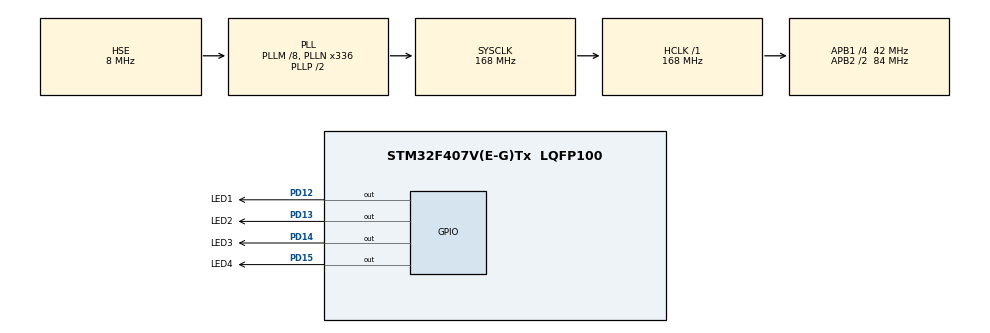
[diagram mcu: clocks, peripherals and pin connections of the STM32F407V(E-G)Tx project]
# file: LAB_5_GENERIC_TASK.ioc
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FREERTOS.Tasks01=defaultTask,24,128,StartDefaultTask,Default,NULL,Dynamic,NULL,NULL;LED1_Task,24,128,StartLED1_Task,Default,NULL,Dynamic,NULL,NULL;LED2_Task,24,128,StartLED2_Task,Default,NULL,Dynamic,NULL,NULL;LED3_Task,24,128,StartLED3_Task,Default,NULL,Dynamic,NULL,NULL;LED4_Task,24,128,StartLED4_Task,Default,NULL,Dynamic,NULL,NULL;LedGenericTask,24,128,StartLedGenericTask,Default,NULL,Dynamic,NULL,NULL
FREERTOS.configUSE_NEWLIB_REENTRANT=1
Mcu.Family=STM32F4
Mcu.Name=STM32F407V(E-G)Tx
Mcu.Package=LQFP100
NVIC.PriorityGroup=NVIC_PRIORITYGROUP_4
NVIC.TIM1_UP_TIM10_IRQn=true\:15\:0\:false\:false\:true\:false\:false\:true\:true
NVIC.TimeBase=TIM1_UP_TIM10_IRQn
NVIC.TimeBaseIP=TIM1
PA13.Mode=Serial_Wire
PA13.Signal=SYS_JTMS-SWDIO
PA14.Mode=Serial_Wire
PA14.Signal=SYS_JTCK-SWCLK
PD12.GPIO_Label=LED1
PD12.Signal=GPIO_Output
PD13.GPIO_Label=LED2
PD13.Signal=GPIO_Output
PD14.GPIO_Label=LED3
PD14.Signal=GPIO_Output
PD15.GPIO_Label=LED4
PD15.Signal=GPIO_Output
PH0-OSC_IN.Mode=HSE-External-Oscillator
PH0-OSC_IN.Signal=RCC_OSC_IN
PH1-OSC_OUT.Mode=HSE-External-Oscillator
PH1-OSC_OUT.Signal=RCC_OSC_OUT
ProjectManager.HeapSize=0x200
ProjectManager.StackSize=0x400
ProjectManager.TargetToolchain=STM32CubeIDE
RCC.48MHZClocksFreq_Value=48000000
RCC.AHBFreq_Value=168000000
RCC.APB1CLKDivider=RCC_HCLK_DIV4
RCC.APB1Freq_Value=42000000
RCC.APB1TimFreq_Value=84000000
RCC.APB2CLKDivider=RCC_HCLK_DIV2
RCC.APB2Freq_Value=84000000
RCC.APB2TimFreq_Value=168000000
RCC.CortexFreq_Value=168000000
RCC.HCLKFreq_Value=168000000
RCC.HSE_VALUE=8000000
RCC.HSI_VALUE=16000000
RCC.LSE_VALUE=32768
RCC.PLLM=8
RCC.PLLN=336
RCC.PLLQ=7
RCC.PLLSourceVirtual=RCC_PLLSOURCE_HSE
RCC.SYSCLKFreq_VALUE=168000000
RCC.SYSCLKSource=RCC_SYSCLKSOURCE_PLLCLK
RCC.VCOOutputFreq_Value=336000000
VP_FREERTOS_VS_CMSIS_V2.Mode=CMSIS_V2
VP_SYS_VS_tim1.Mode=TIM1
board=STM32F407G-DISC1

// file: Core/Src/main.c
/* USER CODE BEGIN Header */
/**
  ******************************************************************************
  * @file           : main.c
  * @brief          : Main program body
  ******************************************************************************
  * @attention
  *
  * Copyright (c) 2024 STMicroelectronics.
  * All rights reserved.
  *
  * This software is licensed under terms that can be found in the LICENSE file
  * in the root directory of this software component.
  * If no LICENSE file comes with this software, it is provided AS-IS.
  *
  ******************************************************************************
  */
/* USER CODE END Header */
#include "main.h"
#include "cmsis_os.h"

/* USER CODE BEGIN PTD */
typedef struct
{
	uint16_t 		delay;
	uint32_t 		pin;
	GPIO_TypeDef* 	port;
}Ala_Struct_LedConfig;
Ala_Struct_LedConfig led1 = {100, GPIO_PIN_12, GPIOD};
Ala_Struct_LedConfig led2 = {300, GPIO_PIN_13, GPIOD};
Ala_Struct_LedConfig led3 = {500, GPIO_PIN_14, GPIOD};
Ala_Struct_LedConfig led4 = {700, GPIO_PIN_15, GPIOD};
/* USER CODE END PTD */

/* Definitions for defaultTask */
osThreadId_t defaultTaskHandle;
const osThreadAttr_t defaultTask_attributes = {
  .name = "defaultTask",
  .stack_size = 128 * 4,
  .priority = (osPriority_t) osPriorityNormal,
};
/* Definitions for LED1_Task */
osThreadId_t LED1_TaskHandle;
const osThreadAttr_t LED1_Task_attributes = {
  .name = "LED1_Task",
  .stack_size = 128 * 4,
  .priority = (osPriority_t) osPriorityNormal,
};
/* Definitions for LED2_Task */
osThreadId_t LED2_TaskHandle;
const osThreadAttr_t LED2_Task_attributes = {
  .name = "LED2_Task",
  .stack_size = 128 * 4,
  .priority = (osPriority_t) osPriorityNormal,
};
/* Definitions for LED3_Task */
osThreadId_t LED3_TaskHandle;
const osThreadAttr_t LED3_Task_attributes = {
  .name = "LED3_Task",
  .stack_size = 128 * 4,
  .priority = (osPriority_t) osPriorityNormal,
};
/* Definitions for LED4_Task */
osThreadId_t LED4_TaskHandle;
const osThreadAttr_t LED4_Task_attributes = {
  .name = "LED4_Task",
  .stack_size = 128 * 4,
  .priority = (osPriority_t) osPriorityNormal,
};
/* Definitions for LedGenericTask */
osThreadId_t LedGenericTaskHandle;
const osThreadAttr_t LedGenericTask_attributes = {
  .name = "LedGenericTask",
  .stack_size = 128 * 4,
  .priority = (osPriority_t) osPriorityNormal,
};

void SystemClock_Config(void);
static void MX_GPIO_Init(void);
void StartDefaultTask(void *argument);
void StartLED1_Task(void *argument);
void StartLED2_Task(void *argument);
void StartLED3_Task(void *argument);
void StartLED4_Task(void *argument);
void StartLedGenericTask(void *argument);

int main(void)
{

  /* MCU Configuration--------------------------------------------------------*/

  /* Reset of all peripherals, Initializes the Flash interface and the Systick. */
  HAL_Init();

  /* Configure the system clock */
  SystemClock_Config();

  /* Initialize all configured peripherals */
  MX_GPIO_Init();

  /* Init scheduler */
  osKernelInitialize();

  /* Create the thread(s) */
  /* creation of defaultTask */
  defaultTaskHandle = osThreadNew(StartDefaultTask, NULL, &defaultTask_attributes);

  /* creation of LED1_Task */
  LED1_TaskHandle = osThreadNew(StartLedGenericTask, &led1, &LedGenericTask_attributes);

  /* creation of LED2_Task */
  LED2_TaskHandle = osThreadNew(StartLedGenericTask, &led2, &LedGenericTask_attributes);

  /* creation of LED3_Task */
  LED3_TaskHandle = osThreadNew(StartLedGenericTask, &led3, &LedGenericTask_attributes);

  /* creation of LED4_Task */
  LED4_TaskHandle = osThreadNew(StartLedGenericTask, &led4, &LedGenericTask_attributes);

  /* creation of LedGenericTask */
  LedGenericTaskHandle = osThreadNew(StartLedGenericTask, NULL, &LedGenericTask_attributes);

  /* Start scheduler */
  osKernelStart();

  /* We should never get here as control is now taken by the scheduler */

  /* Infinite loop */
  while (1)
  {

  }
}

void SystemClock_Config(void)
{
  RCC_OscInitTypeDef RCC_OscInitStruct = {0};
  RCC_ClkInitTypeDef RCC_ClkInitStruct = {0};

  /** Configure the main internal regulator output voltage
  */
  __HAL_RCC_PWR_CLK_ENABLE();
  __HAL_PWR_VOLTAGESCALING_CONFIG(PWR_REGULATOR_VOLTAGE_SCALE1);

  /** Initializes the RCC Oscillators according to the specified parameters
  * in the RCC_OscInitTypeDef structure.
  */
  RCC_OscInitStruct.OscillatorType = RCC_OSCILLATORTYPE_HSE;
  RCC_OscInitStruct.HSEState = RCC_HSE_ON;
  RCC_OscInitStruct.PLL.PLLState = RCC_PLL_ON;
  RCC_OscInitStruct.PLL.PLLSource = RCC_PLLSOURCE_HSE;
  RCC_OscInitStruct.PLL.PLLM = 8;
  RCC_OscInitStruct.PLL.PLLN = 336;
  RCC_OscInitStruct.PLL.PLLP = RCC_PLLP_DIV2;
  RCC_OscInitStruct.PLL.PLLQ = 7;
  if (HAL_RCC_OscConfig(&RCC_OscInitStruct) != HAL_OK)
  {
    Error_Handler();
  }

  /** Initializes the CPU, AHB and APB buses clocks
  */
  RCC_ClkInitStruct.ClockType = RCC_CLOCKTYPE_HCLK|RCC_CLOCKTYPE_SYSCLK
                              |RCC_CLOCKTYPE_PCLK1|RCC_CLOCKTYPE_PCLK2;
  RCC_ClkInitStruct.SYSCLKSource = RCC_SYSCLKSOURCE_PLLCLK;
  RCC_ClkInitStruct.AHBCLKDivider = RCC_SYSCLK_DIV1;
  RCC_ClkInitStruct.APB1CLKDivider = RCC_HCLK_DIV4;
  RCC_ClkInitStruct.APB2CLKDivider = RCC_HCLK_DIV2;

  if (HAL_RCC_ClockConfig(&RCC_ClkInitStruct, FLASH_LATENCY_5) != HAL_OK)
  {
    Error_Handler();
  }
}

static void MX_GPIO_Init(void)
{
  GPIO_InitTypeDef GPIO_InitStruct = {0};

  /* GPIO Ports Clock Enable */
  __HAL_RCC_GPIOH_CLK_ENABLE();
  __HAL_RCC_GPIOD_CLK_ENABLE();
  __HAL_RCC_GPIOA_CLK_ENABLE();

  /*Configure GPIO pin Output Level */
  HAL_GPIO_WritePin(GPIOD, LED1_Pin|LED2_Pin|LED3_Pin|LED4_Pin, GPIO_PIN_RESET);

  /*Configure GPIO pins : LED1_Pin LED2_Pin LED3_Pin LED4_Pin */
  GPIO_InitStruct.Pin = LED1_Pin|LED2_Pin|LED3_Pin|LED4_Pin;
  GPIO_InitStruct.Mode = GPIO_MODE_OUTPUT_PP;
  GPIO_InitStruct.Pull = GPIO_NOPULL;
  GPIO_InitStruct.Speed = GPIO_SPEED_FREQ_LOW;
  HAL_GPIO_Init(GPIOD, &GPIO_InitStruct);

}

void StartDefaultTask(void *argument)
{
  for(;;)
  {
    osDelay(1);
  }
}

void StartLED1_Task(void *argument)
{
  for(;;)
  {
    osDelay(1);
  }
}

void StartLED2_Task(void *argument)
{
  for(;;)
  {
    osDelay(1);
  }
}

void StartLED3_Task(void *argument)
{
  for(;;)
  {
    osDelay(1);
  }
}

void StartLED4_Task(void *argument)
{
  for(;;)
  {
    osDelay(1);
  }
}

void StartLedGenericTask(void *argument)
{
  /* USER CODE BEGIN StartLedGenericTask */
	Ala_Struct_LedConfig ala;
	if (argument != NULL)
	{
		ala = *(Ala_Struct_LedConfig*) argument;
	}
	else
	{
		// Default Configuration If NULL Is Passed
		ala.delay 	= 1000;
		ala.pin 	= GPIO_PIN_0;
		ala.port 	= GPIOA;
	}
	/* Infinite loop */
	for(;;)
	{
		HAL_GPIO_TogglePin(ala.port, ala.pin);
		osDelay(ala.delay);
	}
  /* USER CODE END StartLedGenericTask */
}

void HAL_TIM_PeriodElapsedCallback(TIM_HandleTypeDef *htim)
{
  if (htim->Instance == TIM1) {
    HAL_IncTick();
  }
}

void Error_Handler(void)
{
  __disable_irq();
  while (1)
  {
  }
}
